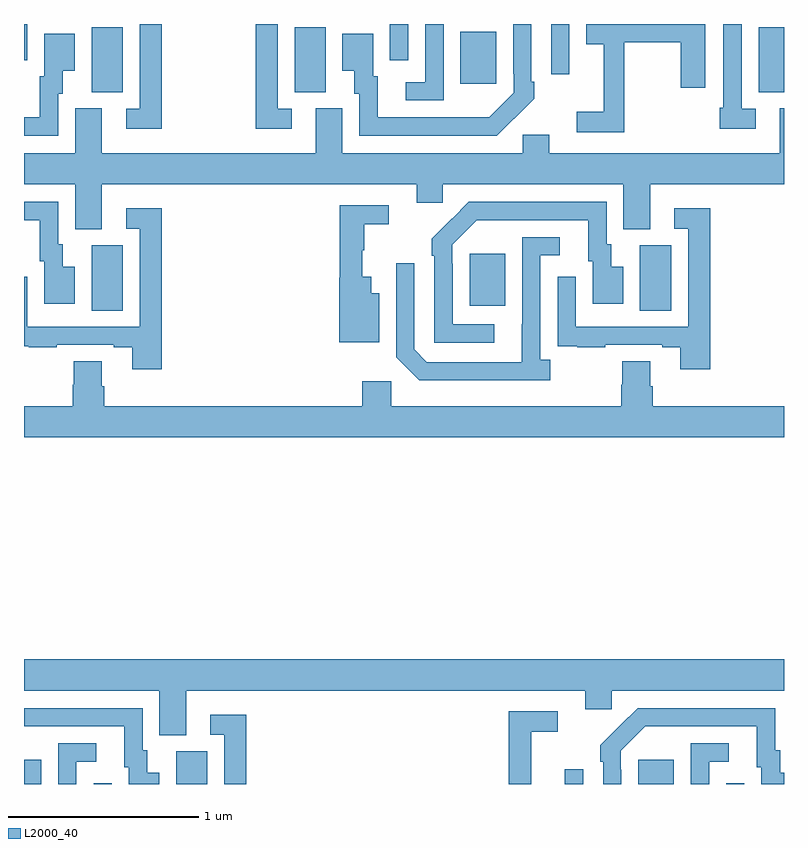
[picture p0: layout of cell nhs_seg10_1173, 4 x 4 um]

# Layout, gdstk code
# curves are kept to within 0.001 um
import gdstk
lib = gdstk.Library(unit=1e-6, precision=1e-09)
def R(c, l, rs):  # rectangles x0, y0, x1, y1
    for r in rs: c.add(gdstk.rectangle(r[:2], r[2:], *l))
def P(c, l, *ps):  # polygons
    for p in ps: c.add(gdstk.Polygon(p, *l))
L2000_40 = (2000, 40)

nhs_seg10_1173 = lib.new_cell('nhs_seg10_1173')
R(nhs_seg10_1173, L2000_40, [(171,1290.5,171.091,1290.628), (171.366,1290.5,171.462,1290.505), (171.8,1290.5,171.964,1290.672), (173.847,1290.5,173.943,1290.577), (174.233,1290.5,174.421,1290.628), (174.696,1290.5,174.792,1290.505), (171.356,1292.992,171.52,1293.336), (174.242,1292.992,174.406,1293.336), (173.345,1293.017,173.533,1293.292), (171.356,1294.141,171.52,1294.484), (172.424,1294.141,172.588,1294.484), (174.866,1294.141,175,1294.484), (173.297,1294.185,173.485,1294.459), (173.775,1294.236,173.871,1294.5), (171,1294.308,171.018,1294.5), (172.926,1294.308,173.022,1294.5)])
P(nhs_seg10_1173, L2000_40, [(172.408,1294.053),(172.335,1294.053),(172.335,1294.5),(172.219,1294.5),(172.219,1293.948),(172.408,1293.948)],
  [(171.725,1294.5),(171.609,1294.5),(171.609,1294.053),(171.537,1294.053),(171.537,1293.948),(171.725,1293.948)],
  [(174.85,1294.053),(174.777,1294.053),(174.777,1294.5),(174.681,1294.5),(174.681,1294.06),(174.661,1294.06),(174.661,1293.948),(174.85,1293.948)],
  [(173.208,1294.5),(173.112,1294.5),(173.112,1294.194),(173.01,1294.194),(173.01,1294.098),(173.208,1294.098)],
  [(174.16,1294.405),(174.457,1294.405),(174.457,1294.164),(174.586,1294.164),(174.586,1294.448),(174.585,1294.448),(174.585,1294.5),(173.96,1294.5),(173.96,1294.394),(174.05,1294.394),(174.05,1294.039),(173.91,1294.039),(173.91,1293.93),(174.16,1293.93)],
  [(173.579,1294.003),(173.58,1294.002),(173.685,1294.107),(173.685,1294.195),(173.67,1294.195),(173.67,1294.5),(173.574,1294.5),(173.574,1294.237),(173.577,1294.237),(173.577,1294.137),(173.449,1294.009),(172.861,1294.008),(172.861,1294.224),(172.837,1294.224),(172.837,1294.45),(172.676,1294.45),(172.676,1294.253),(172.739,1294.253),(172.739,1294.134),(172.764,1294.134),(172.764,1293.912),(173.488,1293.912)],
  [(171.18,1294.134),(171.205,1294.134),(171.205,1294.253),(171.268,1294.253),(171.268,1294.45),(171.107,1294.45),(171.107,1294.224),(171.083,1294.224),(171.083,1294.008),(171,1294.008),(171,1293.912),(171.18,1293.912)],
  [(171.409,1293.656),(173.066,1293.656),(173.066,1293.558),(173.205,1293.558),(173.205,1293.656),(174.155,1293.656),(174.155,1293.421),(174.295,1293.421),(174.295,1293.656),(175,1293.656),(175,1294.056),(174.977,1294.056),(174.977,1293.82),(173.764,1293.82),(173.764,1293.918),(173.625,1293.918),(173.625,1293.82),(172.675,1293.82),(172.675,1294.056),(172.535,1294.056),(172.535,1293.82),(171.409,1293.82),(171.409,1294.056),(171.269,1294.056),(171.269,1293.82),(171,1293.82),(171,1293.656),(171.269,1293.656),(171.269,1293.421),(171.409,1293.421)],
  [(171.268,1293.223),(171.205,1293.223),(171.205,1293.342),(171.18,1293.342),(171.18,1293.564),(171,1293.564),(171,1293.468),(171.083,1293.468),(171.083,1293.252),(171.107,1293.252),(171.107,1293.027),(171.268,1293.027)],
  [(173.476,1292.919),(173.256,1292.919),(173.256,1293.239),(173.253,1293.239),(173.253,1293.339),(173.382,1293.468),(173.969,1293.468),(173.969,1293.252),(173.993,1293.252),(173.993,1293.027),(174.154,1293.027),(174.154,1293.223),(174.091,1293.223),(174.091,1293.342),(174.066,1293.342),(174.066,1293.564),(173.342,1293.564),(173.145,1293.369),(173.145,1293.281),(173.16,1293.281),(173.16,1292.823),(173.476,1292.823)],
  [(172.87,1293.082),(172.828,1293.082),(172.828,1293.169),(172.781,1293.169),(172.781,1293.309),(172.792,1293.309),(172.792,1293.445),(172.921,1293.445),(172.921,1293.546),(172.663,1293.546),(172.663,1293.165),(172.658,1293.165),(172.658,1292.825),(172.87,1292.825)],
  [(171.725,1293.529),(171.537,1293.529),(171.537,1293.423),(171.609,1293.423),(171.609,1292.907),(171.018,1292.907),(171.018,1293.169),(171,1293.169),(171,1292.805),(171.025,1292.805),(171.025,1292.799),(171.173,1292.799),(171.173,1292.811),(171.473,1292.811),(171.473,1292.799),(171.569,1292.799),(171.569,1292.682),(171.725,1292.682)],
  [(174.611,1293.529),(174.423,1293.529),(174.423,1293.423),(174.495,1293.423),(174.495,1292.907),(173.904,1292.907),(173.904,1293.169),(173.808,1293.169),(173.808,1292.914),(173.809,1292.914),(173.809,1292.805),(173.911,1292.805),(173.911,1292.799),(174.059,1292.799),(174.059,1292.811),(174.359,1292.811),(174.359,1292.799),(174.455,1292.799),(174.455,1292.682),(174.611,1292.682)],
  [(173.77,1292.734),(173.718,1292.734),(173.718,1293.282),(173.821,1293.282),(173.821,1293.378),(173.622,1293.378),(173.621,1292.721),(173.121,1292.721),(173.055,1292.787),(173.055,1293.241),(172.959,1293.241),(172.959,1292.745),(173.08,1292.624),(173.77,1292.624)],
  [(175,1292.488),(174.308,1292.488),(174.308,1292.594),(174.295,1292.594),(174.295,1292.726),(174.148,1292.726),(174.148,1292.601),(174.143,1292.601),(174.143,1292.488),(172.932,1292.488),(172.932,1292.62),(172.781,1292.62),(172.781,1292.488),(171.422,1292.488),(171.422,1292.594),(171.409,1292.594),(171.409,1292.726),(171.262,1292.726),(171.262,1292.601),(171.257,1292.601),(171.257,1292.488),(171,1292.488),(171,1292.324),(175,1292.324)],
  [(171.853,1290.992),(173.954,1290.992),(173.954,1290.894),(174.093,1290.894),(174.093,1290.992),(175,1290.992),(175,1291.156),(171,1291.156),(171,1290.992),(171.713,1290.992),(171.713,1290.757),(171.853,1290.757)],
  [(174.144,1290.575),(174.141,1290.575),(174.141,1290.675),(174.27,1290.804),(174.857,1290.804),(174.857,1290.588),(174.881,1290.588),(174.881,1290.5),(175,1290.5),(175,1290.559),(174.979,1290.559),(174.979,1290.678),(174.954,1290.678),(174.954,1290.9),(174.23,1290.9),(174.033,1290.705),(174.033,1290.617),(174.048,1290.617),(174.048,1290.5),(174.144,1290.5)],
  [(171.712,1290.559),(171.649,1290.559),(171.649,1290.678),(171.624,1290.678),(171.624,1290.9),(171,1290.9),(171,1290.804),(171.527,1290.804),(171.527,1290.588),(171.551,1290.588),(171.551,1290.5),(171.712,1290.5)],
  [(173.669,1290.774),(173.809,1290.774),(173.809,1290.882),(173.551,1290.882),(173.551,1290.5),(173.669,1290.5)],
  [(172.169,1290.865),(171.981,1290.865),(171.981,1290.759),(172.053,1290.759),(172.053,1290.5),(172.169,1290.5)],
  [(174.606,1290.618),(174.709,1290.618),(174.709,1290.714),(174.51,1290.714),(174.51,1290.5),(174.606,1290.5)],
  [(171.276,1290.618),(171.379,1290.618),(171.379,1290.714),(171.18,1290.714),(171.18,1290.5),(171.276,1290.5)])

lib.write_gds('nhs_seg10_1173.gds')
